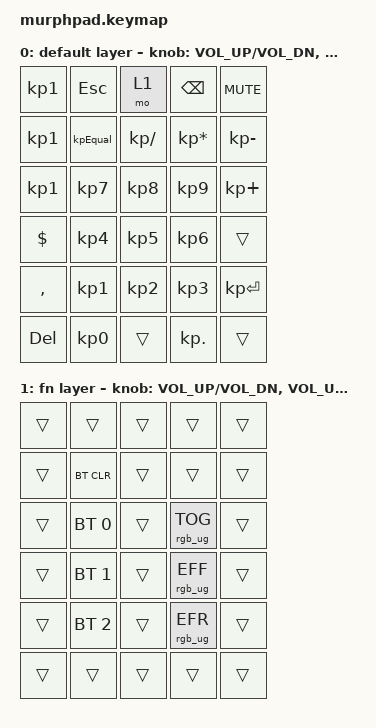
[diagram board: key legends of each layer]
/*
 * Copyright (c) 2021 The ZMK Contributors
 *
 * SPDX-License-Identifier: MIT
 */

#include <behaviors.dtsi>
#include <dt-bindings/zmk/keys.h>
#include <dt-bindings/zmk/bt.h>
#include <dt-bindings/zmk/rgb.h>


#define TIMEOUT 300

&encoder_1 {
    status = "okay";
};

&encoder_2 {
    status = "okay";
};

/ {
    combos {
        compatible = "zmk,combos";
        combo_btclr {
            timeout-ms = <TIMEOUT>;
            key-positions = <1 6>;
            bindings = <&bt BT_CLR>;
        };
        combo_reset {
            timeout-ms = <TIMEOUT>;
            key-positions = <1 3>;
            bindings = <&reset>;
        };
        combo_bootloader {
            timeout-ms = <TIMEOUT>;
            key-positions = <1 2>;
            bindings = <&bootloader>;
        };
        combo_bt_nxt {
            timeout-ms = <TIMEOUT>;
            key-positions = <1 4>;
            bindings = <&bt BT_NXT>;
        };
    };
    
    sensors {
        compatible = "zmk,keymap-sensors";
        sensors = <&encoder_1 &encoder_2>;
    };


    keymap0: keymap {
        compatible = "zmk,keymap";

        default_layer {
            label = "default layer";
            bindings = <
                &kp KP_N1       &kp ESC      &mo 1           &kp BSPC          &kp C_MUTE   
                &kp KP_N1       &kp KP_Equal &kp KP_DIVIDE   &kp KP_MULTIPLY   &kp KP_MINUS    
                &kp KP_N1       &kp KP_N7    &kp KP_N8       &kp KP_N9         &kp KP_PLUS   
                &kp DLLR        &kp KP_N4    &kp KP_N5       &kp KP_N6         &trans
                &kp COMMA       &kp KP_N1    &kp KP_N2       &kp KP_N3         &kp KP_ENTER
                &kp DEL         &kp KP_N0    &trans          &kp KP_DOT        &trans 
            >;
            sensor-bindings = <&inc_dec_kp C_VOL_UP C_VOL_DN &inc_dec_kp C_VOL_UP C_VOL_DN>;

        }; 
        
        fn_layer {
            label = "fn layer";
            bindings = <
                &trans      &trans         &trans        &trans           &trans  
                &trans      &bt BT_CLR     &trans        &trans           &trans     
                &trans      &bt BT_SEL 0   &trans        &rgb_ug RGB_TOG  &trans
                &trans      &bt BT_SEL 1   &trans        &rgb_ug RGB_EFF  &trans    
                &trans      &bt BT_SEL 2   &trans        &rgb_ug RGB_EFR  &trans
                &trans      &trans         &trans        &trans           &trans           
            >;  
            sensor-bindings = <&inc_dec_kp C_VOL_UP C_VOL_DN &inc_dec_kp C_VOL_UP C_VOL_DN>;
                
        };
    };
};

